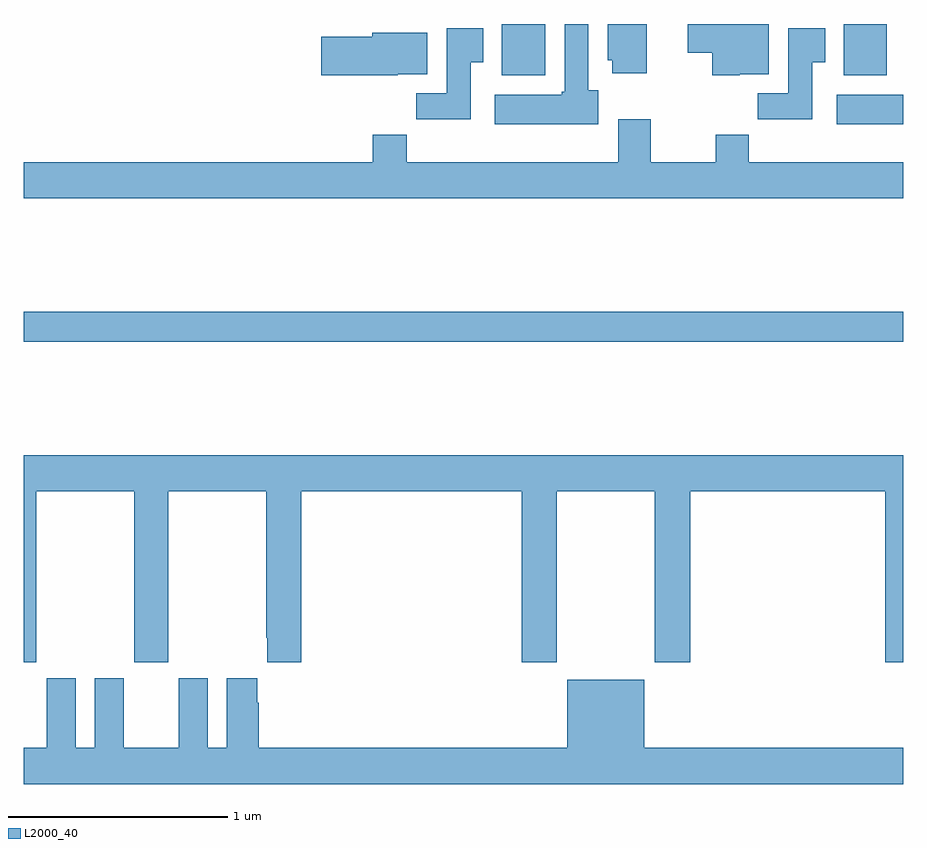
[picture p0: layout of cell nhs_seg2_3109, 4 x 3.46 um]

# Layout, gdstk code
import gdstk
lib = gdstk.Library(unit=1e-6, precision=1e-09)
def R(c, l, rs):  # rectangles x0, y0, x1, y1
    for r in rs: c.add(gdstk.rectangle(r[:2], r[2:], *l))
def P(c, l, *ps):  # polygons
    for p in ps: c.add(gdstk.Polygon(p, *l))
L2000_40 = (2000, 40)

nhs_seg2_3109 = lib.new_cell('nhs_seg2_3109')
R(nhs_seg2_3109, L2000_40, [(275,608.356,279,608.492), (278.697,609.344,279,609.478), (277.175,609.566,277.372,609.8), (278.729,609.566,278.925,609.8)])
P(nhs_seg2_3109, L2000_40, [(278.256,609.572),(278.389,609.572),(278.389,609.8),(278.019,609.8),(278.019,609.67),(278.131,609.67),(278.131,609.566),(278.256,609.566)],
  [(277.834,609.8),(277.655,609.8),(277.655,609.636),(277.676,609.636),(277.676,609.576),(277.834,609.576)],
  [(277.612,609.498),(277.567,609.498),(277.567,609.8),(277.46,609.8),(277.46,609.492),(277.447,609.492),(277.447,609.478),(277.143,609.478),(277.143,609.344),(277.612,609.344)],
  [(277.033,609.625),(277.09,609.625),(277.09,609.781),(276.923,609.781),(276.923,609.484),(276.784,609.484),(276.784,609.366),(277.033,609.366)],
  [(278.587,609.625),(278.644,609.625),(278.644,609.781),(278.477,609.781),(278.477,609.484),(278.338,609.484),(278.338,609.366),(278.587,609.366)],
  [(276.702,609.572),(276.835,609.572),(276.835,609.76),(276.584,609.76),(276.584,609.743),(276.354,609.743),(276.354,609.566),(276.702,609.566)],
  [(279,609.172),(278.297,609.172),(278.297,609.296),(278.146,609.296),(278.146,609.172),(277.851,609.172),(277.851,609.367),(277.703,609.367),(277.703,609.172),(276.743,609.172),(276.743,609.296),(276.587,609.296),(276.587,609.172),(275,609.172),(275,609.008),(279,609.008)],
  [(275.058,607.676),(275.503,607.676),(275.503,606.897),(275.658,606.897),(275.658,607.676),(276.103,607.676),(276.103,607.009),(276.107,607.009),(276.107,606.897),(276.263,606.897),(276.263,607.676),(277.265,607.676),(277.265,606.897),(277.425,606.897),(277.425,607.676),(277.87,607.676),(277.87,606.897),(278.03,606.897),(278.03,607.676),(278.918,607.676),(278.918,606.897),(279,606.897),(279,607.84),(275,607.84),(275,606.897),(275.058,606.897)],
  [(279,606.508),(277.822,606.508),(277.822,606.817),(277.472,606.817),(277.472,606.508),(276.068,606.508),(276.068,606.713),(276.061,606.713),(276.061,606.826),(275.924,606.826),(275.924,606.508),(275.836,606.508),(275.836,606.826),(275.705,606.826),(275.705,606.508),(275.455,606.508),(275.455,606.826),(275.324,606.826),(275.324,606.508),(275.236,606.508),(275.236,606.826),(275.105,606.826),(275.105,606.508),(275,606.508),(275,606.344),(279,606.344)])

lib.write_gds('nhs_seg2_3109.gds')
